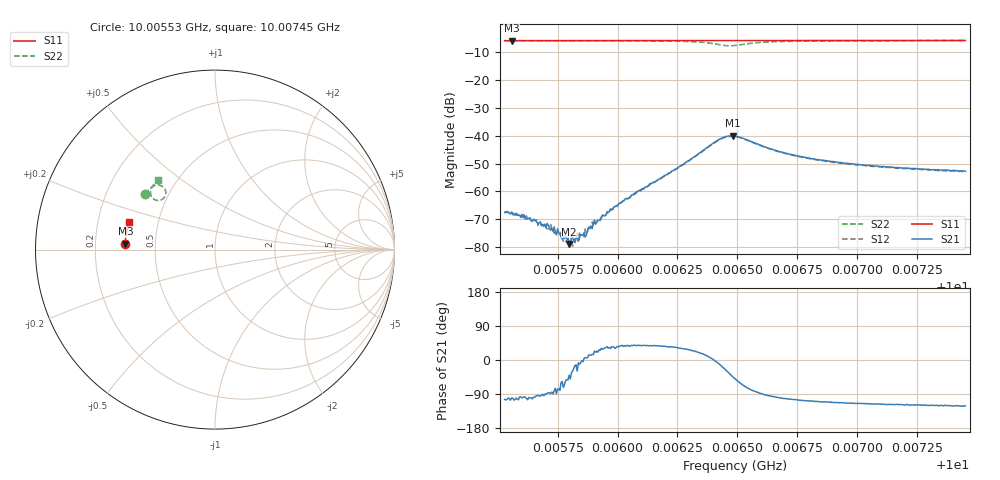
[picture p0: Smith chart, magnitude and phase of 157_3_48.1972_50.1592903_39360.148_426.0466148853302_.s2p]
#  HZ  S  RI  R  50.00
! Rohde & Schwarz Vector Network Analyzer
! Rohde-Schwarz,ZNB20-2Port,1311601062101988,3.16
! Created: UTC 3/20/2024, 11:43:04 AM
! freq[Hz]  re:S11  im:S11  re:S21  im:S21  re:S12  im:S12  re:S22  im:S22
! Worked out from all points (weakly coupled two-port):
!   401 points, 10.00553 GHz to 10.00745 GHz, reference 50 ohm
!   highest |S21| = -40.09 dB at 10.00648 GHz (marker M1); lowest = -78.8 dB at 10.0058 GHz (marker M2)
!   lowest |S11| = -6.0 dB at 10.00556 GHz (marker M3), VSWR 3.01, Z = 16.7 + j1.5 ohm
!   |S11| at or under -10 dB: nowhere
!   |S22| runs from -7.9 to -6.0 dB; largest |S21 - S12| = 0.00059
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1.0005528e10  -0.4997 0.0318  -0.000101 -0.000407  -9.04e-05 -0.000413  -0.3889 0.3091
1.0005557e10  -0.4995 0.0337  -7.63e-05 -0.000409  -7.89e-05 -0.000422  -0.3875 0.3108
1.000561e10  -0.4995 0.0371  -4.74e-05 -0.00038  -5.53e-05 -0.000337  -0.3852 0.3139
1.0005706e10  -0.4991 0.0435  1.03e-05 -0.000268  1.41e-05 -0.000215  -0.3807 0.3199
1.0005721e10  -0.4992 0.0445  4.79e-06 -0.000202  3.69e-05 -0.000253  -0.3799 0.3207
1.0005735e10  -0.499 0.0452  3.45e-05 -0.00023  6.41e-06 -0.000177  -0.3791 0.3218
1.0005759e10  -0.4989 0.047  2.97e-05 -0.000172  4.78e-05 -0.000163  -0.3779 0.3233
1.0005778e10  -0.4989 0.0481  6.08e-05 -0.000129  9.5e-05 -0.000131  -0.3769 0.3243
1.0005798e10  -0.4987 0.0495  8.75e-05 -7.43e-05  9.89e-05 -8.46e-05  -0.3759 0.3256
1.0005812e10  -0.4987 0.0505  0.000136 -7.66e-05  0.000102 -2.6e-05  -0.375 0.3265
1.0005851e10  -0.4985 0.0527  0.000164 -6.19e-06  0.000159 -1.55e-05  -0.3728 0.3289
1.000586e10  -0.4985 0.0535  0.000183 1.38e-05  0.000153 -8.43e-06  -0.3724 0.3296
1.0005908e10  -0.4982 0.0566  0.000243 9.07e-05  0.000244 0.000133  -0.3695 0.3328
1.0005995e10  -0.4976 0.0622  0.000459 0.000304  0.000439 0.000347  -0.3635 0.3388
1.0006173e10  -0.4965 0.0738  0.00133 0.00101  0.00126 0.00104  -0.3463 0.3519
1.0006419e10  -0.4937 0.0895  0.0082 -0.00109  0.00803 -0.000661  -0.2757 0.3284
1.0006481e10  -0.493 0.0928  0.0071 -0.0069  0.00725 -0.00639  -0.2963 0.2787
1.0006491e10  -0.4929 0.0934  0.00632 -0.00748  0.00655 -0.00701  -0.3044 0.2753
1.0006674e10  -0.4918 0.1051  -0.00085 -0.00514  -0.000556 -0.00509  -0.3597 0.322
1.0006813e10  -0.49 0.114  -0.00122 -0.00364  -0.00104 -0.00365  -0.3536 0.3436
1.0007136e10  -0.4856 0.1345  -0.00125 -0.00245  -0.00115 -0.00242  -0.3359 0.3694
1.0007454e10  -0.4804 0.1542  -0.00119 -0.00196  -0.00108 -0.00201  -0.3191 0.387
